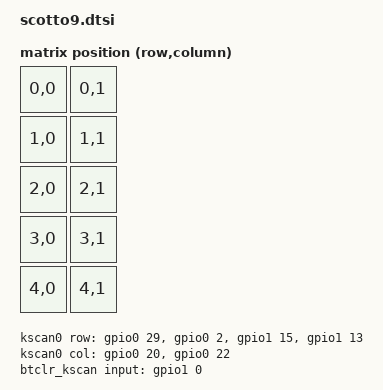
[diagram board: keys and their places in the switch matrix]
// scotto9.dtsi - Scotto9 shield for nice!nano v2
#include <dt-bindings/zmk/matrix_transform.h>

/ {
    chosen {
        zmk,kscan = &kscan_composite;
        zmk,matrix-transform = &default_transform;
    };

    default_transform: keymap_transform_0 {
        compatible = "zmk,matrix-transform";
        columns = <2>;
        rows = <5>;
        /* 5x2 macropad: rows = top→bottom; columns = left→right */
        map = <
            RC(0,0) RC(0,1)
            RC(1,0) RC(1,1)
            RC(2,0) RC(2,1)
            RC(3,0) RC(3,1)
            RC(4,0) RC(4,1)
        >;
    };

    kscan0: kscan {
        compatible = "zmk,kscan-gpio-matrix";
        label = "KSCAN";
        wakeup-source;
        
        diode-direction = "col2row";

        // Columns (left → right): 020, 022
        col-gpios
            = <&gpio0 20 GPIO_ACTIVE_HIGH>   // Pin labeled 020 (C0)
            , <&gpio0 22 GPIO_ACTIVE_HIGH>   // Pin labeled 022 (C1)
            ;

        // Rows (top → bottom): 029, 002, 115, 113
        row-gpios
            = <&gpio0 29 (GPIO_ACTIVE_HIGH | GPIO_PULL_DOWN)>   // Pin labeled 029 (R0)
            , <&gpio0 2  (GPIO_ACTIVE_HIGH | GPIO_PULL_DOWN)>   // Pin labeled 002 (R1)
            , <&gpio1 15 (GPIO_ACTIVE_HIGH | GPIO_PULL_DOWN)>   // Pin labeled 115 (R2)
            , <&gpio1 13 (GPIO_ACTIVE_HIGH | GPIO_PULL_DOWN)>   // Pin labeled 113 (R3)
            ;
    };

    btclr_kscan: btclr_button {
        compatible = "zmk,kscan-gpio";
        label = "BTCLR";
        input-gpios = <&gpio1 0 (GPIO_ACTIVE_LOW | GPIO_PULL_UP)>; // Pin labeled 100 to GND
        wakeup-source;
    };

    kscan_composite: kscan_composite {
        compatible = "zmk,kscan-composite";
        rows = <5>;
        columns = <2>;

        matrix0: macropad_matrix {
            kscan = <&kscan0>;
            row-offset = <0>;
            col-offset = <0>;
        };

        btclr: btclr_direct {
            kscan = <&btclr_kscan>;
            row-offset = <4>;
            col-offset = <0>;
        };
    };
};
